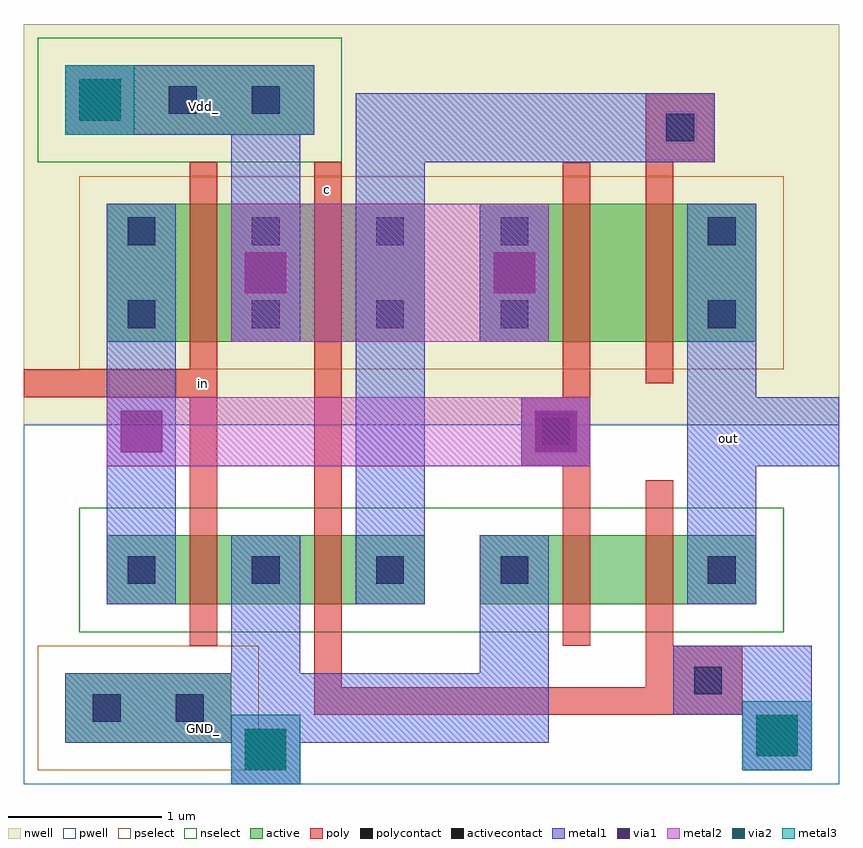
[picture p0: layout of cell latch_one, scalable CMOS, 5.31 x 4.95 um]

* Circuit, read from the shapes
.subckt latch_one GND_ Vdd_ c in out
M1 GND_ in n1 GND_ nfet w=0.45u l=0.18u
M2 n2 c GND_ GND_ nfet w=0.45u l=0.18u
M3 n3 n1 GND_ GND_ nfet w=0.45u l=0.18u
M4 out c n3 GND_ nfet w=0.45u l=0.18u
M5 Vdd_ in n1 Vdd_ pfet w=0.9u l=0.18u
M6 n2 c Vdd_ Vdd_ pfet w=0.9u l=0.18u
M7 n4 n1 Vdd_ Vdd_ pfet w=0.9u l=0.18u
M8 out n2 n4 Vdd_ pfet w=0.9u l=0.18u
.ends

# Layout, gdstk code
import gdstk
lib = gdstk.Library(unit=1e-6, precision=1e-09)
def R(c, l, rs):  # rectangles x0, y0, x1, y1
    for r in rs: c.add(gdstk.rectangle(r[:2], r[2:], *l))
def A(c, l, x, y, w, h, nx, ny, dx, dy):  # array of equal rectangles
    R(c, l, [(x+i*dx, y+j*dy, x+i*dx+w, y+j*dy+h) for i in range(nx) for j in range(ny)])
pwell = (41, 0)
nwell = (42, 0)
active = (43, 0)
pselect = (44, 0)
nselect = (45, 0)
poly = (46, 0)
polycontact = (47, 0)
activecontact = (48, 0)
metal1 = (49, 0)
via1 = (50, 0)
metal2 = (51, 0)
via2 = (61, 0)
metal3 = (62, 0)

latch_one = lib.new_cell('latch_one')
R(latch_one, pwell, [(-0.99,-6.03,4.32,-3.69)])
R(latch_one, nwell, [(-0.99,-3.69,4.32,-1.08)])
R(latch_one, active, [(-0.72,-5.76,0.36,-5.31), (-0.45,-4.86,1.62,-4.41), (1.98,-4.86,3.78,-4.41), (-0.45,-3.15,1.62,-2.25), (1.98,-3.15,3.78,-2.25), (-0.72,-1.8,0.9,-1.35)])
R(latch_one, pselect, [(-0.9,-5.94,0.54,-5.13), (-0.63,-3.33,3.96,-2.07)])
R(latch_one, nselect, [(-0.63,-5.04,3.96,-4.23), (-0.9,-1.98,1.08,-1.17)])
R(latch_one, poly, [(0.9,-5.58,3.69,-5.4), (0.9,-5.4,1.08,-1.98), (3.06,-5.4,3.69,-5.13), (0.09,-5.13,0.27,-3.51), (2.52,-5.13,2.7,-3.96), (3.06,-5.13,3.24,-4.05), (2.25,-3.96,2.7,-3.51), (-0.99,-3.51,0.27,-3.33), (2.52,-3.51,2.7,-1.98), (3.06,-3.42,3.24,-1.98), (0.09,-3.33,0.27,-1.98), (3.06,-1.98,3.51,-1.53)])
R(latch_one, polycontact, [(3.375,-5.445,3.555,-5.265), (2.385,-3.825,2.565,-3.645), (3.195,-1.845,3.375,-1.665)])
A(latch_one, activecontact, -0.315, -4.725, 0.18, 0.18, 4, 2, 0.81, 1.665)
A(latch_one, activecontact, -0.315, -2.52, 0.18, 0.18, 4, 1, 0.81, 0)
R(latch_one, activecontact, [(-0.54,-5.625,-0.36,-5.445), (0,-5.625,0.18,-5.445), (3.465,-4.725,3.645,-4.545), (3.465,-3.06,3.645,-2.88), (3.465,-2.52,3.645,-2.34), (-0.045,-1.665,0.135,-1.485), (0.495,-1.665,0.675,-1.485)])
R(latch_one, metal1, [(0.36,-6.03,0.81,-5.76), (3.69,-5.94,4.14,-5.58), (-0.72,-5.76,2.43,-5.31), (3.24,-5.58,4.14,-5.13), (0.36,-5.31,0.81,-4.41), (1.98,-5.31,2.43,-4.41), (-0.45,-4.86,0,-2.25), (1.17,-4.86,1.62,-1.98), (3.33,-4.86,3.78,-3.96), (2.25,-3.96,2.7,-3.51), (3.33,-3.96,4.32,-3.51), (3.33,-3.51,3.78,-2.25), (0.36,-3.15,0.81,-1.8), (1.98,-3.15,2.43,-2.25), (1.17,-1.98,3.51,-1.53), (-0.72,-1.8,0.9,-1.35)])
R(latch_one, via1, [(0.45,-5.94,0.72,-5.67), (3.78,-5.85,4.05,-5.58), (-0.36,-3.87,-0.09,-3.6), (2.34,-3.87,2.61,-3.6), (0.45,-2.835,0.72,-2.565), (2.07,-2.835,2.34,-2.565), (-0.63,-1.71,-0.36,-1.44)])
R(latch_one, metal2, [(0.36,-6.03,0.81,-5.58), (3.69,-5.94,4.14,-5.49), (-0.45,-3.96,2.7,-3.51), (0.36,-3.15,2.43,-2.25), (-0.72,-1.8,-0.27,-1.35)])
R(latch_one, via2, [(0.45,-5.94,0.72,-5.67), (3.78,-5.85,4.05,-5.58), (-0.63,-1.71,-0.36,-1.44)])
R(latch_one, metal3, [(0.36,-6.03,0.81,-5.58), (3.69,-5.94,4.14,-5.49), (-0.72,-1.8,-0.27,-1.35)])
latch_one.add(gdstk.Label('c', (0.99,-2.16), layer=46, texttype=0))
latch_one.add(gdstk.Label('out', (3.6,-3.78), layer=49, texttype=0))
latch_one.add(gdstk.Label('Vdd_', (0.18,-1.62), layer=49, texttype=0))
latch_one.add(gdstk.Label('in', (0.18,-3.42), layer=46, texttype=0))
latch_one.add(gdstk.Label('GND_', (0.18,-5.67), layer=49, texttype=0))

lib.write_gds('latch_one.gds')
